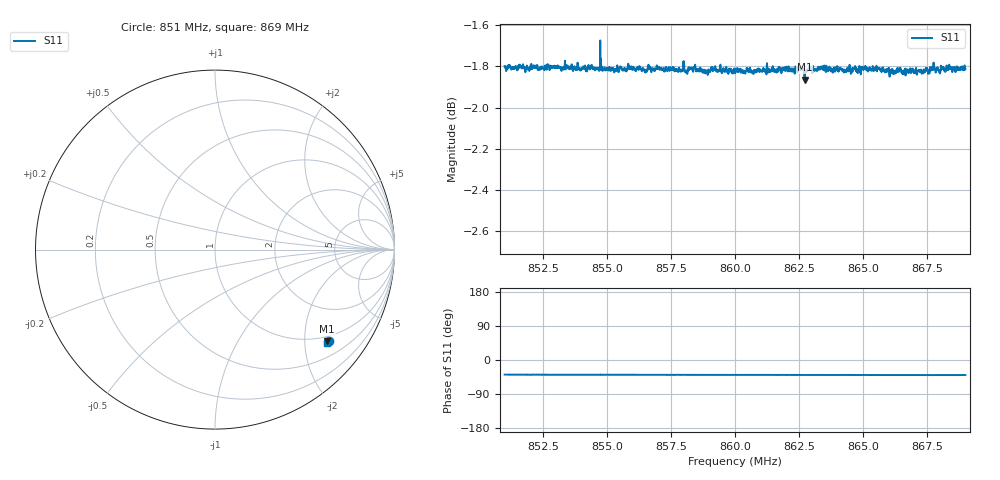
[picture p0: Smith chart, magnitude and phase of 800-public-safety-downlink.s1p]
! Calibrated averaged scanner-service zoom
# Hz S RI R 50
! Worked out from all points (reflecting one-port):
!   2001 points, 851 MHz to 869 MHz, reference 50 ohm
!   lowest |S11| = -1.9 dB at 862.72 MHz (marker M1), VSWR 9.36, Z = 43.5 - j127 ohm
!   phase of S11 starts at -39 deg and turns -1 deg over the sweep
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8.51e8  0.6351 -0.5075
8.5325e8  0.6324 -0.5091
8.54537e8  0.632 -0.5092
8.54726e8  0.6312 -0.5106
8.54906e8  0.6315 -0.5111
8.555e8  0.6317 -0.511
8.5775e8  0.6289 -0.5123
8.58119e8  0.6275 -0.5127
8.5838e8  0.6289 -0.5129
8.58848e8  0.6273 -0.5142
8.59145e8  0.6279 -0.5134
8.6e8  0.6265 -0.5131
8.6225e8  0.6261 -0.5146
8.62565e8  0.6272 -0.5163
8.62718e8  0.6248 -0.5106
8.63429e8  0.6269 -0.5162
8.645e8  0.6273 -0.516
8.65103e8  0.627 -0.5172
8.65589e8  0.6256 -0.5176
8.65814e8  0.6244 -0.5176
8.66399e8  0.624 -0.5182
8.6675e8  0.6232 -0.5179
8.67146e8  0.6232 -0.5184
8.6738e8  0.6249 -0.5178
8.67695e8  0.6239 -0.5184
8.67929e8  0.6241 -0.5185
8.68361e8  0.6255 -0.52
8.69e8  0.6237 -0.5193
